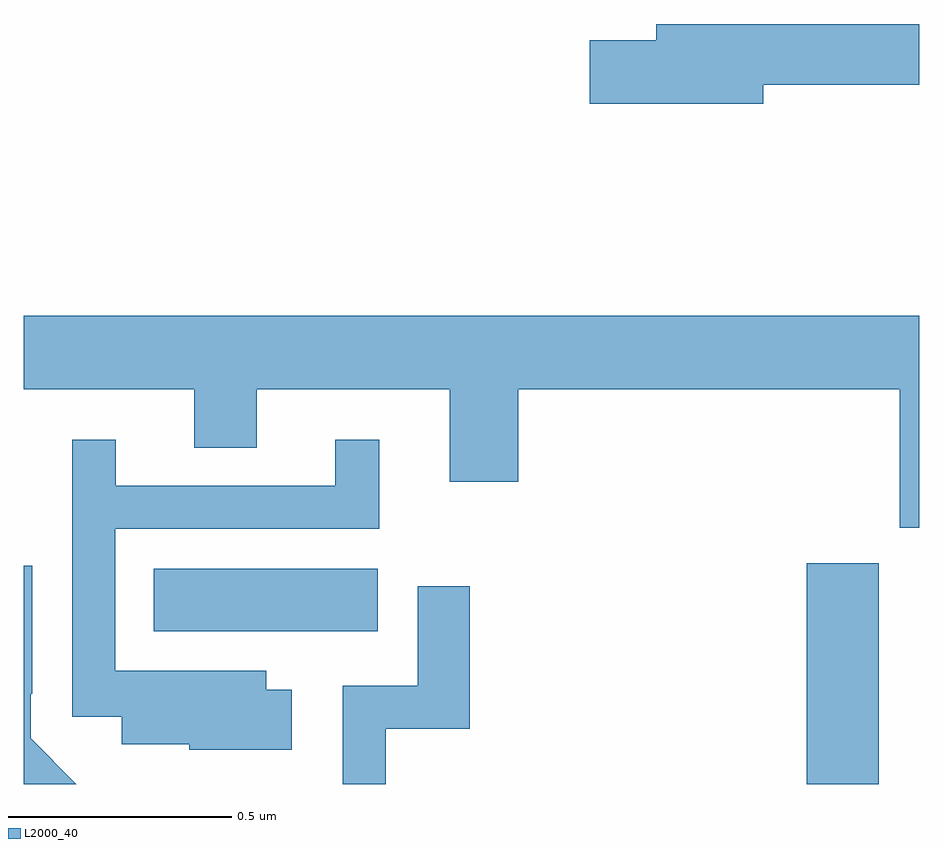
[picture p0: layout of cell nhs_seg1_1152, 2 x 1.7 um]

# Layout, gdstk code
import gdstk
lib = gdstk.Library(unit=1e-6, precision=1e-09)
def R(c, l, rs):  # rectangles x0, y0, x1, y1
    for r in rs: c.add(gdstk.rectangle(r[:2], r[2:], *l))
def P(c, l, *ps):  # polygons
    for p in ps: c.add(gdstk.Polygon(p, *l))
L2000_40 = (2000, 40)

nhs_seg1_1152 = lib.new_cell('nhs_seg1_1152')
R(nhs_seg1_1152, L2000_40, [(126.749,536.199,126.909,536.692), (125.29,536.54,125.791,536.68)])
P(nhs_seg1_1152, L2000_40, [(126.652,537.76),(127,537.76),(127,537.896),(126.413,537.896),(126.413,537.86),(126.264,537.86),(126.264,537.718),(126.652,537.718)],
  [(127,537.244),(125,537.244),(125,537.08),(125.381,537.08),(125.381,536.95),(125.521,536.95),(125.521,537.08),(125.951,537.08),(125.951,536.874),(126.104,536.874),(126.104,537.08),(126.956,537.08),(126.956,536.771),(127,536.771)],
  [(125.599,536.41),(125.542,536.41),(125.542,536.452),(125.205,536.452),(125.205,536.769),(125.794,536.769),(125.794,536.968),(125.696,536.968),(125.696,536.865),(125.206,536.865),(125.206,536.968),(125.109,536.968),(125.109,536.349),(125.219,536.349),(125.219,536.288),(125.37,536.288),(125.37,536.276),(125.599,536.276)],
  [(125.016,536.301),(125.016,536.401),(125.019,536.401),(125.019,536.686),(125,536.686),(125,536.199),(125.118,536.199)],
  [(125.809,536.322),(125.996,536.322),(125.996,536.641),(125.88,536.641),(125.88,536.418),(125.712,536.418),(125.712,536.199),(125.809,536.199)])

lib.write_gds('nhs_seg1_1152.gds')
